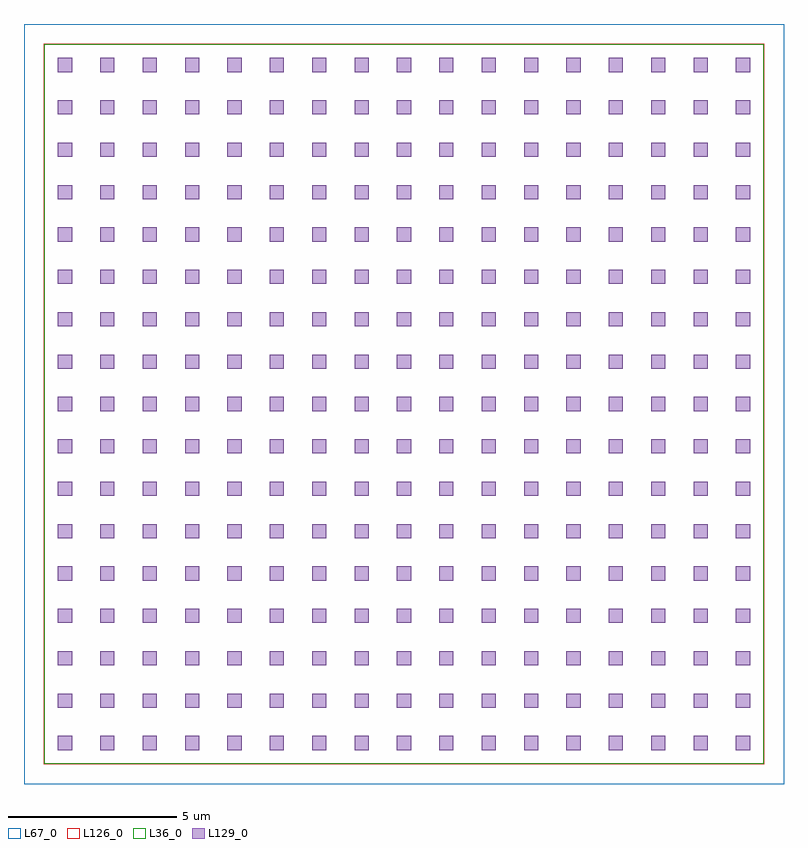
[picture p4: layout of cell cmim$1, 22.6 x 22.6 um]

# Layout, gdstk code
import gdstk
lib = gdstk.Library(unit=1e-6, precision=1e-09)
def R(c, l, rs):  # rectangles x0, y0, x1, y1
    for r in rs: c.add(gdstk.rectangle(r[:2], r[2:], *l))
def A(c, l, x, y, w, h, nx, ny, dx, dy):  # array of equal rectangles
    R(c, l, [(x+i*dx, y+j*dy, x+i*dx+w, y+j*dy+h) for i in range(nx) for j in range(ny)])
L36_0 = (36, 0)
L67_0 = (67, 0)
L126_0 = (126, 0)
L129_0 = (129, 0)

cmim_1 = lib.new_cell('cmim$1')
R(cmim_1, L36_0, [(0,0,21.4,21.4)])
R(cmim_1, L67_0, [(-0.6,-0.6,22,22)])
R(cmim_1, L126_0, [(-0.01,-0.01,21.41,21.41)])
A(cmim_1, L129_0, 0.41, 0.41, 0.42, 0.42, 17, 17, 1.26, 1.26)

lib.write_gds('cmim_1.gds')
